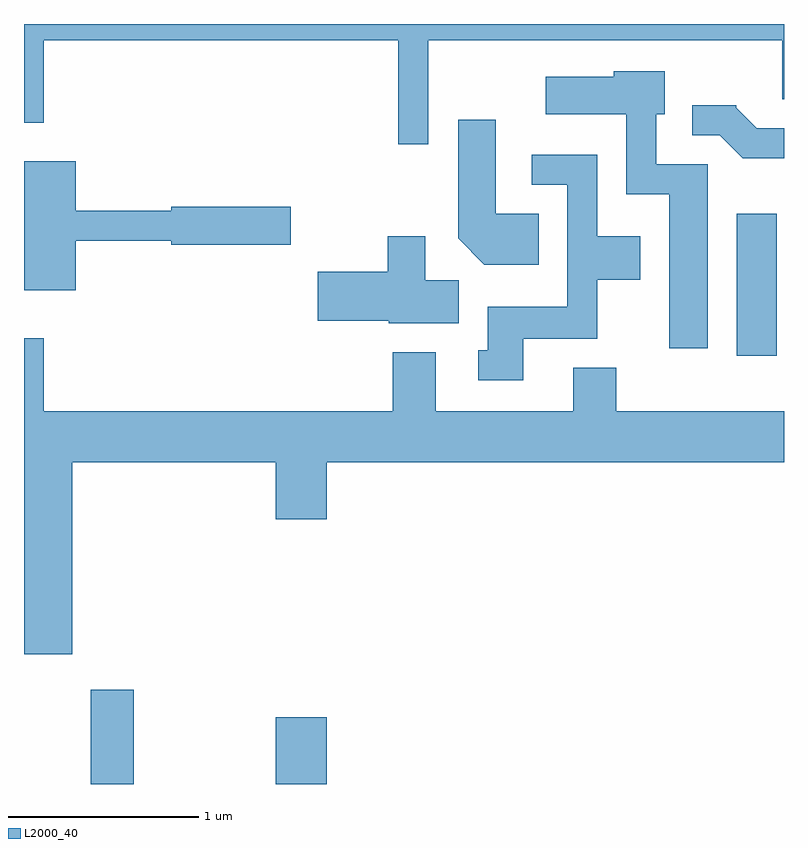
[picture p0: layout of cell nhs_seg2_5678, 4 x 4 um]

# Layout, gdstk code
import gdstk
lib = gdstk.Library(unit=1e-6, precision=1e-09)
def R(c, l, rs):  # rectangles x0, y0, x1, y1
    for r in rs: c.add(gdstk.rectangle(r[:2], r[2:], *l))
def P(c, l, *ps):  # polygons
    for p in ps: c.add(gdstk.Polygon(p, *l))
L2000_40 = (2000, 40)

nhs_seg2_5678 = lib.new_cell('nhs_seg2_5678')
R(nhs_seg2_5678, L2000_40, [(353.961,977.802,354.189,978.299), (354.936,977.802,355.204,978.154), (357.361,980.056,357.574,980.804)])
P(nhs_seg2_5678, L2000_40, [(355.739,981.716),(357.601,981.716),(357.601,981.406),(357.611,981.406),(357.611,981.802),(353.611,981.802),(353.611,981.283),(353.714,981.283),(353.714,981.716),(355.581,981.716),(355.581,981.168),(355.739,981.168)],
  [(357.209,981.064),(356.939,981.064),(356.939,981.326),(356.984,981.326),(356.984,981.554),(356.716,981.554),(356.716,981.524),(356.356,981.524),(356.356,981.326),(356.781,981.326),(356.781,980.906),(357.006,980.906),(357.006,980.096),(357.209,980.096)],
  [(357.611,981.254),(357.467,981.254),(357.36,981.361),(357.36,981.374),(357.128,981.374),(357.128,981.216),(357.274,981.216),(357.394,981.096),(357.611,981.096)],
  [(356.319,980.804),(356.094,980.804),(356.094,981.299),(355.896,981.299),(355.896,980.674),(356.034,980.536),(356.319,980.536)],
  [(356.239,980.146),(356.629,980.146),(356.629,980.456),(356.854,980.456),(356.854,980.684),(356.629,980.684),(356.629,981.114),(356.283,981.114),(356.283,980.956),(356.471,980.956),(356.471,980.314),(356.051,980.314),(356.051,980.084),(356.003,980.084),(356.003,979.926),(356.239,979.926)],
  [(353.884,980.661),(354.386,980.661),(354.386,980.641),(355.014,980.641),(355.014,980.839),(354.386,980.839),(354.386,980.819),(353.884,980.819),(353.884,981.079),(353.611,981.079),(353.611,980.401),(353.884,980.401)],
  [(355.899,980.454),(355.724,980.454),(355.724,980.684),(355.526,980.684),(355.526,980.499),(355.156,980.499),(355.156,980.241),(355.53,980.241),(355.53,980.226),(355.899,980.226)],
  [(353.864,979.496),(354.936,979.496),(354.936,979.196),(355.204,979.196),(355.204,979.496),(357.611,979.496),(357.611,979.764),(356.729,979.764),(356.729,979.994),(356.501,979.994),(356.501,979.764),(355.779,979.764),(355.779,980.074),(355.551,980.074),(355.551,979.764),(353.714,979.764),(353.714,980.148),(353.611,980.148),(353.611,978.486),(353.864,978.486)])

lib.write_gds('nhs_seg2_5678.gds')
